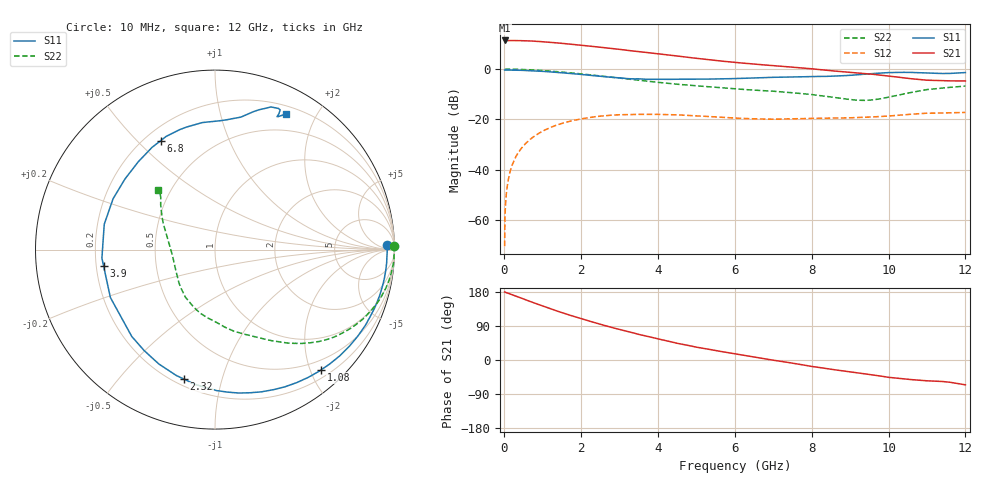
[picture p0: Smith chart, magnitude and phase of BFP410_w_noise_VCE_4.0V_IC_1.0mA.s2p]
! Infineon Technologies  Discrete & RF Semiconductors
! BFP410
! VCE =  4.0 V,  IC =  1.0 mA
! Common Emitter S-Parameters:  Nov 2015
# GHz  S  MA  R  50
!  f  S11  S21  S12  S22
! GHz  MAG  ANG  MAG  ANG  MAG  ANG  MAG  ANG
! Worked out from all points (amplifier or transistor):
!   243 points, 10 MHz to 12 GHz, reference 50 ohm
!   highest |S21| = 11.4 dB at 10 MHz (marker M1)
!   |S21| within 3 dB of that: start of sweep to 2.674 GHz
!   unconditionally stable (mu >= 1): 4.651 GHz to end of sweep
!   at 240 MHz: K = 0.03, MSG = 24.2 dB, |S12| = -37.0 dB
!   at 1.84 GHz: K = 0.27, MSG = 15.0 dB, |S12| = -20.3 dB
!   at 12 GHz: K = 1.25, MAG = 3.2 dB, |S12| = -17.2 dB
!   lowest NFmin = 0.79 dB at 900 MHz
!   S11 on the Smith chart (normalised r, x): 10 MHz: 35, +19; 1.08 GHz: 0.33, -2.18; 2.32 GHz: 0.24, -0.76; 3.9 GHz: 0.23, -0.07; 6.8 GHz: 0.26, +0.59; 12 GHz: 0.29, +1.61
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0.01  0.9565 1.4  3.718 179.5  0.0003 28.7  1 1.0
0.02  0.9598 -0.1  3.682 179.4  0.0012 81.0  0.9921 0.5
0.05  0.959 -2.1  3.678 177.7  0.003 86.5  0.999 -0.5
0.11  0.959 -4.7  3.697 175.9  0.0065 85.9  0.9989 -2.2
0.2  0.9579 -8.7  3.703 172.6  0.0119 84.3  0.9969 -4.2
0.4  0.9497 -17.7  3.689 164.9  0.0238 79.7  0.9885 -8.5
0.7  0.9305 -31.2  3.627 153.6  0.0415 72.4  0.9674 -14.8
1.08  0.8938 -48.5  3.469 139.7  0.0626 62.6  0.927 -22.4
1.6  0.8337 -71.9  3.205 121.7  0.0874 49.2  0.8589 -31.9
2.02  0.7823 -90.2  2.971 108.7  0.1029 39.3  0.8015 -38.6
2.32  0.742 -103.5  2.817 99.6  0.1117 32.5  0.7571 -43.0
3  0.6702 -133.8  2.472 80.5  0.1237 18.1  0.6588 -52.2
3.5  0.6411 -155.4  2.238 67.6  0.126 9.4  0.5979 -58.1
3.9  0.6274 -171.6  2.064 58.2  0.1257 3.6  0.556 -62.6
4.1  0.6276 -179.1  1.984 53.5  0.1251 0.9  0.5364 -65.1
5  0.6346 153.5  1.641 33.9  0.1181 -9.3  0.466 -77.1
6.1  0.6524 129.1  1.341 14.6  0.1052 -14.7  0.4001 -90.3
6.8  0.678 116.6  1.206 3.0  0.1015 -14.5  0.3703 -100.4
8.2  0.7129 91.9  0.979 -19.8  0.1051 -14.8  0.2977 -126.7
9.4  0.796 74.6  0.815 -36.8  0.1101 -14.8  0.2387 -169.4
10.2  0.8577 67.2  0.699 -47.7  0.12 -15.3  0.2971 158.9
12  0.8544 62.4  0.581 -65.5  0.1376 -25.7  0.4594 133.9
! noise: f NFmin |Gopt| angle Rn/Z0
0.45  0.82  0.68  9  0.45
0.9  0.79  0.65  23  0.41
1.8  1.13  0.53  57  0.35
2.4  1.23  0.5  71  0.31
5.5  2.66  0.44  -153  0.19
